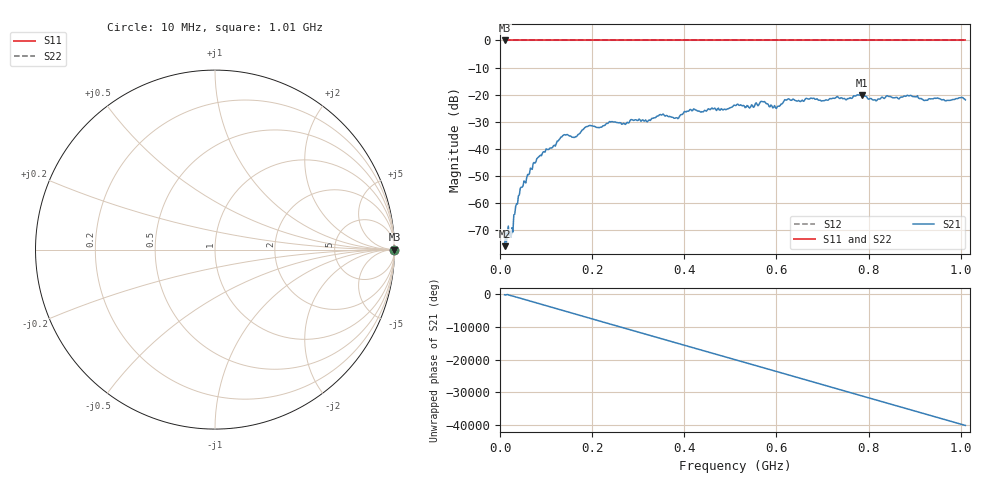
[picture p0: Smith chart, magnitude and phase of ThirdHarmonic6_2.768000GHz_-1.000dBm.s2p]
! 8/17/2025 7:01:39 AM
! C:\ANRITSUVNA\TEMP\TEMP.S2P
! CHANNEL.1
! TR.MEASUREMENT
! RAW.DATA
! RF.CORRECTION.OFF
! AVERAGING.OFF
! IF.BANDWIDTH: 5KHZ
! SWEEPTYPE:  FREQ.SWEEP(Linear)
! Reference Plane Port Info
! PORT:  PORT1  PORT2
! DISTANCE:  0  m  0  m
! TIME:  0  s  0  s
! PHASE.OFFSET:  0  deg.  0  deg.
! LOSS:  0  dB  0  dB
! REF.LOSS:  0  dB  0  dB
! REF.FREQ:  0  Hz  0  Hz
! Power Info
! POWER:  -20  dBm  -20  dBm
! EFF.POWER:  -20  dBm  -20  dBm
! SOURCE.ATTEN:  0  dB  0  dB
! TEST.ATTEN:  0  dB  0  dB
# GHZ S RI R 50.0
! FREQ.GHZ  S11RE  S11IM  S21RE  S21IM  S12RE  S12IM  S22RE  S22IM
!; PortSelection: Port_12
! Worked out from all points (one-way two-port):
!   501 points, 10 MHz to 1.01 GHz, reference 50 ohm
!   highest |S21| = -20.09 dB at 786 MHz (marker M1); lowest = -76.0 dB at 10 MHz (marker M2)
!   lowest |S11| = 0.0 dB at 10 MHz (marker M3)
!   |S11| at or under -10 dB: nowhere
!   |S22| runs from 0.0 to 0.0 dB; largest |S21 - S12| = 1.1
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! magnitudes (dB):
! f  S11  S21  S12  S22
! 10 MHz  0.0  -76.0  0.0  0.0
! 16 MHz  0.0  -71.2  0.0  0.0
! 24 MHz  0.0  -72.7  0.0  0.0
! 44 MHz  0.0  -54.6  0.0  0.0
! 76 MHz  0.0  -45.3  0.0  0.0
! 136 MHz  0.0  -35.2  0.0  0.0
! 162 MHz  0.0  -35.8  0.0  0.0
! 178 MHz  0.0  -33.2  0.0  0.0
! 192 MHz  0.0  -31.6  0.0  0.0
! 344 MHz  0.0  -27.9  0.0  0.0
! 384 MHz  0.0  -28.6  0.0  0.0
! 410 MHz  0.0  -26.1  0.0  0.0
! 510 MHz  0.0  -24.0  0.0  0.0
! 546 MHz  0.0  -23.8  0.0  0.0
! 570 MHz  0.0  -22.6  0.0  0.0
! 596 MHz  0.0  -24.1  0.0  0.0
! 622 MHz  0.0  -22.0  0.0  0.0
! 678 MHz  0.0  -21.4  0.0  0.0
! 786 MHz  0.0  -20.1  0.0  0.0
! 814 MHz  0.0  -21.9  0.0  0.0
! 844 MHz  0.0  -20.7  0.0  0.0
! 1.01 GHz  0.0  -21.9  0.0  0.0
